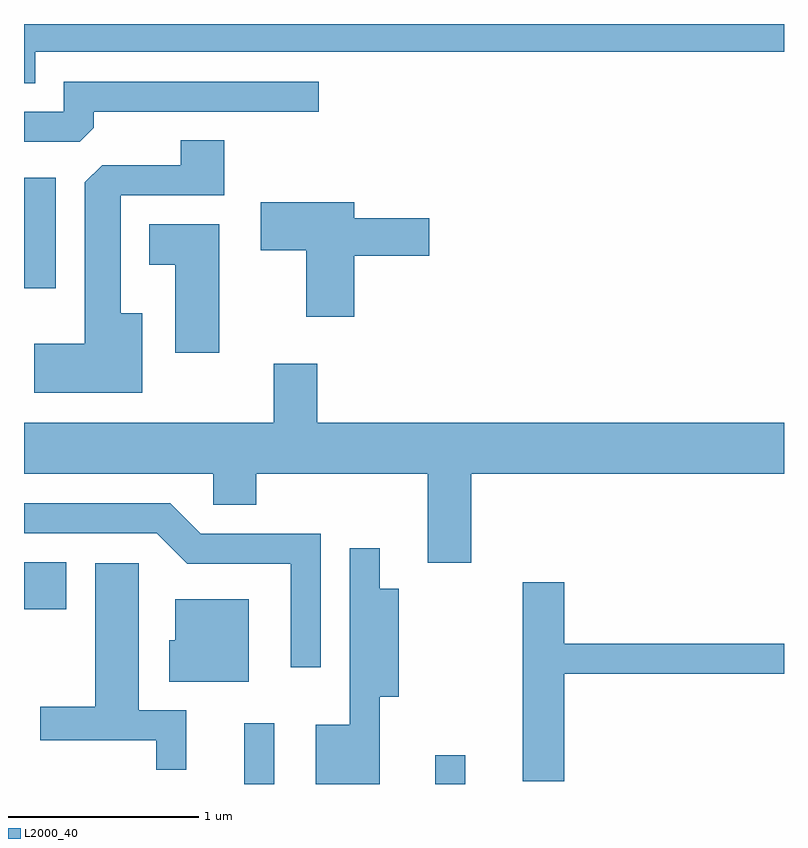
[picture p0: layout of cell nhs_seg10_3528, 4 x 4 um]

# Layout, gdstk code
import gdstk
lib = gdstk.Library(unit=1e-6, precision=1e-09)
def R(c, l, rs):  # rectangles x0, y0, x1, y1
    for r in rs: c.add(gdstk.rectangle(r[:2], r[2:], *l))
def P(c, l, *ps):  # polygons
    for p in ps: c.add(gdstk.Polygon(p, *l))
L2000_40 = (2000, 40)

nhs_seg10_3528 = lib.new_cell('nhs_seg10_3528')
R(nhs_seg10_3528, L2000_40, [(290.771,2094.522,290.929,2094.843), (291.776,2094.522,291.934,2094.673), (289.611,2095.441,289.834,2095.689), (289.611,2097.131,289.779,2097.714)])
P(nhs_seg10_3528, L2000_40, [(289.669,2098.376),(293.611,2098.376),(293.611,2098.522),(289.611,2098.522),(289.611,2098.211),(289.669,2098.211)],
  [(289.979,2097.977),(289.979,2098.061),(291.163,2098.061),(291.163,2098.219),(289.821,2098.219),(289.821,2098.059),(289.611,2098.059),(289.611,2097.901),(289.904,2097.901)],
  [(290.234,2096.999),(290.119,2096.999),(290.119,2097.621),(290.664,2097.621),(290.664,2097.909),(290.436,2097.909),(290.436,2097.779),(290.022,2097.779),(289.931,2097.689),(289.931,2096.839),(289.666,2096.839),(289.666,2096.581),(290.234,2096.581)],
  [(291.349,2097.301),(291.744,2097.301),(291.744,2097.499),(291.349,2097.499),(291.349,2097.584),(290.856,2097.584),(290.856,2097.331),(291.096,2097.331),(291.096,2096.981),(291.349,2096.981)],
  [(290.639,2097.469),(290.271,2097.469),(290.271,2097.256),(290.406,2097.256),(290.406,2096.791),(290.639,2096.791)],
  [(291.964,2096.156),(293.611,2096.156),(293.611,2096.424),(291.154,2096.424),(291.154,2096.734),(290.926,2096.734),(290.926,2096.424),(289.611,2096.424),(289.611,2096.156),(290.606,2096.156),(290.606,2095.991),(290.834,2095.991),(290.834,2096.156),(291.736,2096.156),(291.736,2095.686),(291.964,2095.686)],
  [(291.174,2095.839),(290.542,2095.839),(290.382,2095.999),(289.611,2095.999),(289.611,2095.841),(290.309,2095.841),(290.469,2095.681),(291.016,2095.681),(291.016,2095.137),(291.174,2095.137)],
  [(291.484,2094.981),(291.584,2094.981),(291.584,2095.549),(291.484,2095.549),(291.484,2095.762),(291.326,2095.762),(291.326,2094.834),(291.146,2094.834),(291.146,2094.522),(291.484,2094.522)],
  [(290.464,2094.909),(290.214,2094.909),(290.214,2095.684),(289.986,2095.684),(289.986,2094.929),(289.696,2094.929),(289.696,2094.751),(290.306,2094.751),(290.306,2094.597),(290.464,2094.597)],
  [(292.454,2095.101),(293.611,2095.101),(293.611,2095.259),(292.454,2095.259),(292.454,2095.584),(292.236,2095.584),(292.236,2094.536),(292.454,2094.536)],
  [(290.794,2095.494),(290.406,2095.494),(290.406,2095.279),(290.376,2095.279),(290.376,2095.061),(290.794,2095.061)])

lib.write_gds('nhs_seg10_3528.gds')
